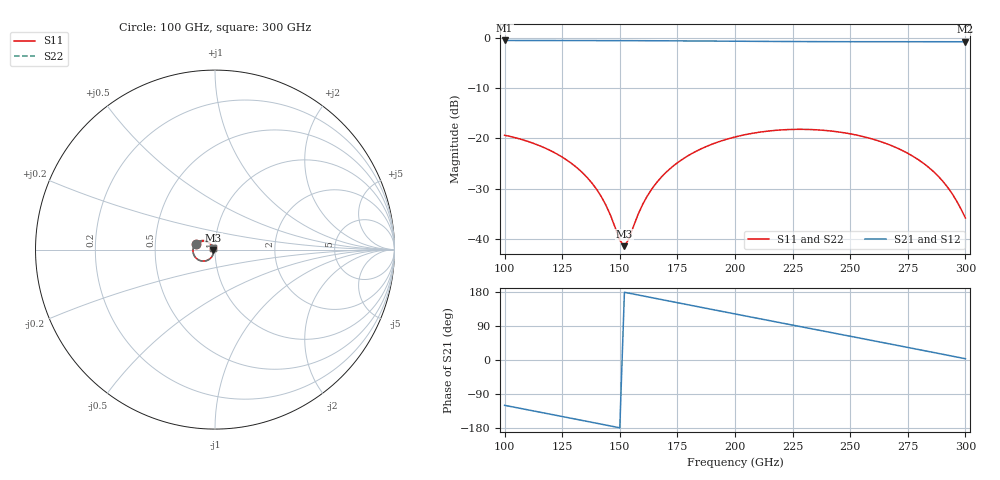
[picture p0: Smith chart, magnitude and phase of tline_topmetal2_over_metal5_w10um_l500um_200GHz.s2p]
#  GHZ S DB R 50
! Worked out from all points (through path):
!   101 points, 100 GHz to 300 GHz, reference 50 ohm
!   highest |S21| = -0.56 dB at 100 GHz (marker M1); lowest = -0.8 dB at 300 GHz (marker M2)
!   group delay of S21, straight-line fit = 3.29 ps
!   lowest |S11| = -41.4 dB at 152 GHz (marker M3), VSWR 1.02, Z = 49.2 - j0.135 ohm
!   |S11| at or under -10 dB: start of sweep to end of sweep
!   |S22| runs from -41.6 to -18.2 dB; largest |S21 - S12| = 1.1e-14
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100  -19.39 164.2  -0.56 -119.6  -0.56 -119.6  -19.39 164.3
120  -22.47 141.9  -0.58 -143.2  -0.58 -143.2  -22.46 142.0
134  -26.93 129.5  -0.58 -159.8  -0.58 -159.8  -26.93 129.6
142  -31.62 127.9  -0.59 -169.4  -0.59 -169.4  -31.62 127.9
146  -35.34 134.0  -0.59 -174.1  -0.59 -174.1  -35.37 133.8
150  -40.26 160.3  -0.60 -178.9  -0.60 -178.9  -40.35 160.1
152  -41.44 -170.7  -0.60 178.7  -0.60 178.7  -41.57 -170.4
154  -39.96 -142.7  -0.60 176.3  -0.60 176.3  -40.06 -142.1
160  -33.07 -114.8  -0.61 169.2  -0.61 169.2  -33.08 -114.2
164  -30.00 -112.6  -0.62 164.4  -0.62 164.4  -30.01 -112.2
168  -27.73 -113.7  -0.63 159.6  -0.63 159.6  -27.73 -113.3
174  -25.22 -117.8  -0.64 152.5  -0.64 152.5  -25.21 -117.4
182  -22.85 -125.0  -0.66 142.9  -0.66 142.9  -22.84 -124.6
200  -19.74 -143.8  -0.71 121.6  -0.71 121.6  -19.73 -143.4
218  -18.41 -163.5  -0.76 100.3  -0.76 100.3  -18.40 -163.1
234  -18.28 178.9  -0.79 81.5  -0.79 81.5  -18.27 179.3
250  -19.11 161.6  -0.81 62.7  -0.81 62.7  -19.10 162.1
268  -21.47 143.1  -0.81 41.4  -0.81 41.4  -21.46 143.7
280  -24.38 132.6  -0.81 27.2  -0.81 27.2  -24.36 133.2
288  -27.44 128.2  -0.81 17.7  -0.81 17.7  -27.41 128.9
294  -30.84 129.4  -0.82 10.5  -0.82 10.5  -30.78 130.2
300  -35.81 144.6  -0.82 3.4  -0.82 3.4  -35.67 145.4
